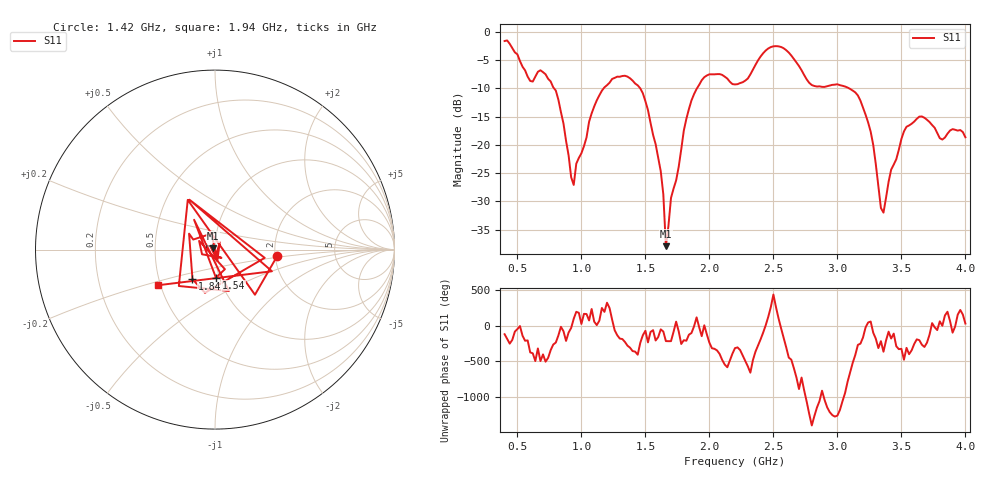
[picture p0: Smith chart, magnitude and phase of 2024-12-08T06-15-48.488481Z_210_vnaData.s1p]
!Created with skrf (http://scikit-rf.org).
# Hz S RI R 50.0
!freq ReS11 ImS11
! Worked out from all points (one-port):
!   181 points, 400 MHz to 4 GHz, reference 50 ohm
!   lowest |S11| = -38.0 dB at 1.66 GHz (marker M1), VSWR 1.03, Z = 49 + j0.744 ohm
!   |S11| at or under -10 dB: 785.9 MHz to 1.174 GHz (388.4 MHz wide, 39.6 % of centre); 1.46 GHz to 1.903 GHz (443.3 MHz wide, 26.4 % of centre); 3.091 GHz to end of sweep
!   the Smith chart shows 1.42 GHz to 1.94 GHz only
!   S11 on the Smith chart (normalised r, x): 1.42 GHz: 2.05, -0.17; 1.54 GHz: 0.96, -0.31; 1.84 GHz: 0.74, -0.26; 1.94 GHz: 0.49, -0.22
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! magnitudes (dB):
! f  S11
! 400 MHz  -1.6
! 600 MHz  -8.7
! 760 MHz  -8.8
! 860 MHz  -16.2
! 940 MHz  -27.1
! 960 MHz  -23.3
! 1.12 GHz  -12.1
! 1.3 GHz  -8.0
! 1.42 GHz  -9.2
! 1.54 GHz  -16.1
! 1.62 GHz  -24.7
! 1.64 GHz  -28.8
! 1.66 GHz  -38.0
! 1.7 GHz  -29.4
! 1.76 GHz  -23.9
! 1.84 GHz  -13.7
! 1.94 GHz  -8.6
! 2.2 GHz  -9.3
! 2.48 GHz  -2.7
! 2.66 GHz  -4.8
! 2.8 GHz  -9.4
! 3.1 GHz  -10.1
! 3.26 GHz  -17.7
! 3.36 GHz  -32.0
! 3.42 GHz  -24.4
! 3.56 GHz  -16.6
! 3.66 GHz  -15.0
! 4 GHz  -18.7
